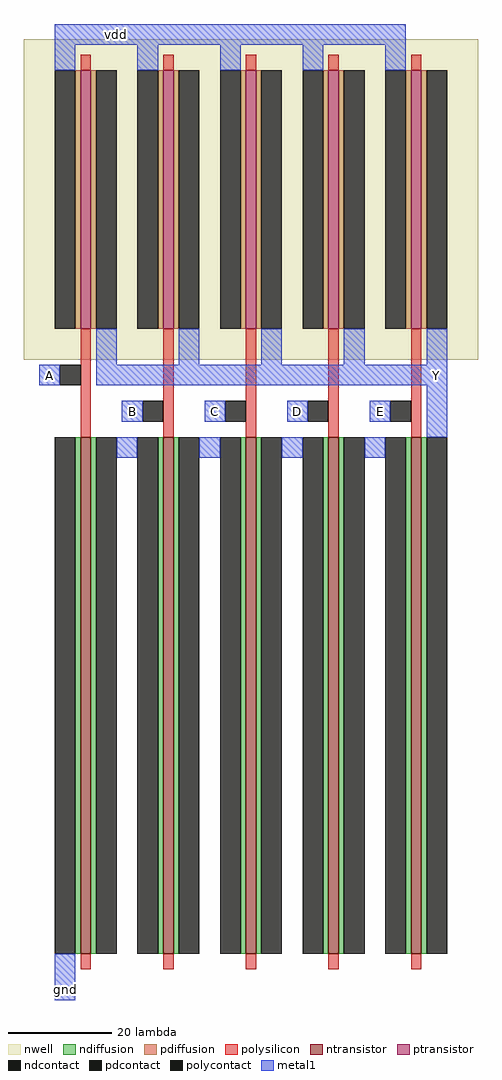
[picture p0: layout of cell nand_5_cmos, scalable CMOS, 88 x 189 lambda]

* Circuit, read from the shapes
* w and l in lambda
.subckt nand_5_cmos A B C D E Y gnd vdd
M1 n1 A gnd VSUBS nfet w=100 l=2
M2 n2 B n1 VSUBS nfet w=100 l=2
M3 n3 C n2 VSUBS nfet w=100 l=2
M4 n4 D n3 VSUBS nfet w=100 l=2
M5 Y E n4 VSUBS nfet w=100 l=2
M6 Y A vdd n5 pfet w=50 l=2
M7 Y B vdd n5 pfet w=50 l=2
M8 Y C vdd n5 pfet w=50 l=2
M9 Y D vdd n5 pfet w=50 l=2
M10 Y E vdd n5 pfet w=50 l=2
.ends

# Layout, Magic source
magic
tech scmos
<< nwell >>
rect -6 -6 82 56
<< ntransistor >>
rect 5 -121 7 -21
rect 21 -121 23 -21
rect 37 -121 39 -21
rect 53 -121 55 -21
rect 69 -121 71 -21
<< ptransistor >>
rect 5 0 7 50
rect 21 0 23 50
rect 37 0 39 50
rect 53 0 55 50
rect 69 0 71 50
<< ndiffusion >>
rect 4 -121 5 -21
rect 7 -121 8 -21
rect 20 -121 21 -21
rect 23 -121 24 -21
rect 36 -121 37 -21
rect 39 -121 40 -21
rect 52 -121 53 -21
rect 55 -121 56 -21
rect 68 -121 69 -21
rect 71 -121 72 -21
<< pdiffusion >>
rect 4 0 5 50
rect 7 0 8 50
rect 20 0 21 50
rect 23 0 24 50
rect 36 0 37 50
rect 39 0 40 50
rect 52 0 53 50
rect 55 0 56 50
rect 68 0 69 50
rect 71 0 72 50
<< ndcontact >>
rect 0 -121 4 -21
rect 8 -121 12 -21
rect 16 -121 20 -21
rect 24 -121 28 -21
rect 32 -121 36 -21
rect 40 -121 44 -21
rect 48 -121 52 -21
rect 56 -121 60 -21
rect 64 -121 68 -21
rect 72 -121 76 -21
<< pdcontact >>
rect 0 0 4 50
rect 8 0 12 50
rect 16 0 20 50
rect 24 0 28 50
rect 32 0 36 50
rect 40 0 44 50
rect 48 0 52 50
rect 56 0 60 50
rect 64 0 68 50
rect 72 0 76 50
<< polysilicon >>
rect 5 50 7 53
rect 21 50 23 53
rect 37 50 39 53
rect 53 50 55 53
rect 69 50 71 53
rect 5 -21 7 0
rect 21 -21 23 0
rect 37 -21 39 0
rect 53 -21 55 0
rect 69 -21 71 0
rect 5 -124 7 -121
rect 21 -124 23 -121
rect 37 -124 39 -121
rect 53 -124 55 -121
rect 69 -124 71 -121
<< polycontact >>
rect 1 -11 5 -7
rect 17 -18 21 -14
rect 33 -18 37 -14
rect 49 -18 53 -14
rect 65 -18 69 -14
<< metal1 >>
rect 0 55 68 59
rect 0 50 4 55
rect 16 50 20 55
rect 32 50 36 55
rect 48 50 52 55
rect 64 50 68 55
rect 8 -7 12 0
rect 24 -7 28 0
rect 40 -7 44 0
rect 56 -7 60 0
rect 72 -7 76 0
rect -3 -11 1 -7
rect 8 -11 76 -7
rect 13 -18 17 -14
rect 29 -18 33 -14
rect 45 -18 49 -14
rect 61 -18 65 -14
rect 72 -21 76 -11
rect 12 -25 16 -21
rect 28 -25 32 -21
rect 44 -25 48 -21
rect 60 -25 64 -21
rect 0 -130 4 -121
<< labels >>
rlabel metal1 10 55 14 59 5 vdd
rlabel metal1 -3 -11 1 -7 1 A
rlabel metal1 61 -18 65 -14 1 E
rlabel metal1 45 -18 49 -14 1 D
rlabel metal1 13 -18 17 -14 1 B
rlabel metal1 29 -18 33 -14 1 C
rlabel metal1 72 -11 76 -7 1 Y
rlabel metal1 0 -130 4 -126 1 gnd
<< end >>
